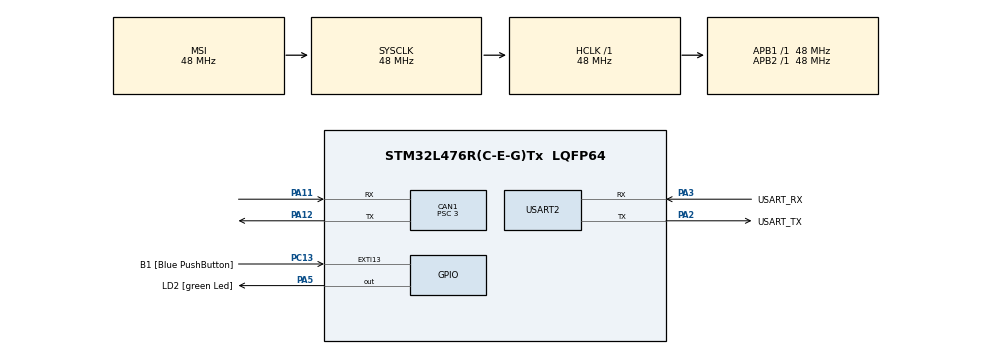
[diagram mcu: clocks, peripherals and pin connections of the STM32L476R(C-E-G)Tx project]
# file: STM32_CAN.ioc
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CAN1.BS1=CAN_BS1_13TQ
CAN1.BS2=CAN_BS2_2TQ
CAN1.CalculateBaudRate=1000000
CAN1.CalculateTimeBit=1000
CAN1.CalculateTimeQuantum=62.5
CAN1.Mode=CAN_MODE_LOOPBACK
CAN1.Prescaler=3
Mcu.Family=STM32L4
Mcu.Name=STM32L476R(C-E-G)Tx
Mcu.Package=LQFP64
NVIC.PriorityGroup=NVIC_PRIORITYGROUP_4
PA11.Mode=CAN_Activate
PA11.Signal=CAN1_RX
PA12.Mode=CAN_Activate
PA12.Signal=CAN1_TX
PA13\ (JTMS-SWDIO).GPIO_Label=TMS
PA13\ (JTMS-SWDIO).Mode=Serial_Wire
PA13\ (JTMS-SWDIO).Signal=SYS_JTMS-SWDIO
PA14\ (JTCK-SWCLK).GPIO_Label=TCK
PA14\ (JTCK-SWCLK).Mode=Serial_Wire
PA14\ (JTCK-SWCLK).Signal=SYS_JTCK-SWCLK
PA2.GPIO_Label=USART_TX
PA2.GPIO_Mode=GPIO_MODE_AF_PP
PA2.GPIO_PuPd=GPIO_NOPULL
PA2.GPIO_Speed=GPIO_SPEED_FREQ_VERY_HIGH
PA2.Mode=Asynchronous
PA2.Signal=USART2_TX
PA3.GPIO_Label=USART_RX
PA3.GPIO_Mode=GPIO_MODE_AF_PP
PA3.GPIO_PuPd=GPIO_NOPULL
PA3.GPIO_Speed=GPIO_SPEED_FREQ_VERY_HIGH
PA3.Mode=Asynchronous
PA3.Signal=USART2_RX
PA5.GPIO_Label=LD2 [green Led]
PA5.GPIO_ModeDefaultOutputPP=GPIO_MODE_OUTPUT_PP
PA5.GPIO_PuPd=GPIO_NOPULL
PA5.GPIO_Speed=GPIO_SPEED_FREQ_LOW
PA5.Signal=GPIO_Output
PB3\ (JTDO-TRACESWO).GPIO_Label=SWO
PB3\ (JTDO-TRACESWO).Signal=SYS_JTDO-SWO
PC13.GPIO_Label=B1 [Blue PushButton]
PC13.GPIO_ModeDefaultEXTI=GPIO_MODE_IT_FALLING
PC13.GPIO_PuPd=GPIO_NOPULL
PC13.Signal=GPXTI13
PC14-OSC32_IN\ (PC14).Mode=LSE-External-Oscillator
PC14-OSC32_IN\ (PC14).Signal=RCC_OSC32_IN
PC15-OSC32_OUT\ (PC15).Mode=LSE-External-Oscillator
PC15-OSC32_OUT\ (PC15).Signal=RCC_OSC32_OUT
PH0-OSC_IN\ (PH0).Signal=RCC_OSC_IN
PH1-OSC_OUT\ (PH1).Signal=RCC_OSC_OUT
ProjectManager.HeapSize=0x200
ProjectManager.StackSize=0x400
ProjectManager.TargetToolchain=STM32CubeIDE
RCC.ADCFreq_Value=64000000
RCC.AHBFreq_Value=48000000
RCC.APB1Freq_Value=48000000
RCC.APB1TimFreq_Value=48000000
RCC.APB2Freq_Value=48000000
RCC.APB2TimFreq_Value=48000000
RCC.CortexFreq_Value=48000000
RCC.HCLKFreq_Value=48000000
RCC.HSE_VALUE=8000000
RCC.HSI_VALUE=16000000
RCC.MSIClockRange=RCC_MSIRANGE_11
RCC.MSI_VALUE=48000000
RCC.PLLN=10
RCC.PLLSourceVirtual=RCC_PLLSOURCE_HSI
RCC.PREFETCH_ENABLE=1
RCC.SYSCLKFreq_VALUE=48000000
RCC.USBFreq_Value=64000000
RCC.VCOOutputFreq_Value=160000000
USART2.VirtualMode-Asynchronous=VM_ASYNC
board=NUCLEO-L476RG

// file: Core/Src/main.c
/* USER CODE BEGIN Header */
/**
  ******************************************************************************
  * @file           : main.c
  * @brief          : Main program body
  ******************************************************************************
  * @attention
  *
  * Copyright (c) 2026 STMicroelectronics.
  * All rights reserved.
  *
  * This software is licensed under terms that can be found in the LICENSE file
  * in the root directory of this software component.
  * If no LICENSE file comes with this software, it is provided AS-IS.
  *
  ******************************************************************************
  */
/* USER CODE END Header */
#include "main.h"

/* USER CODE BEGIN Includes */
#include <stdio.h>
#include <string.h>
/* USER CODE END Includes */

CAN_HandleTypeDef hcan1;

UART_HandleTypeDef huart2;

void SystemClock_Config(void);
static void MX_GPIO_Init(void);
static void MX_CAN1_Init(void);
static void MX_USART2_UART_Init(void);

/* USER CODE BEGIN 0 */
CAN_TxHeaderTypeDef TxHeader;
CAN_RxHeaderTypeDef RxHeader;
CAN_FilterTypeDef FilterConfig;
uint8_t TxData[8];
uint8_t RxData[8];
uint32_t TxMailbox;

int _write(int file, char *ptr, int len)
{
  HAL_UART_Transmit(&huart2, (uint8_t *)ptr, len, HAL_MAX_DELAY);
  return len;
}
/* USER CODE END 0 */

int main(void)
{

  /* MCU Configuration--------------------------------------------------------*/

  /* Reset of all peripherals, Initializes the Flash interface and the Systick. */
  HAL_Init();

  /* Configure the system clock */
  SystemClock_Config();

  /* Initialize all configured peripherals */
  MX_GPIO_Init();
  MX_CAN1_Init();
  MX_USART2_UART_Init();
  /* USER CODE BEGIN 2 */

  printf("\r\n=== CAN Normal Mode Test ===\r\n");

  // Accept-all filter
  FilterConfig.FilterBank = 0;
  FilterConfig.FilterMode = CAN_FILTERMODE_IDMASK;
  FilterConfig.FilterScale = CAN_FILTERSCALE_32BIT;
  FilterConfig.FilterIdHigh = 0x0000;
  FilterConfig.FilterIdLow = 0x0000;
  FilterConfig.FilterMaskIdHigh = 0x0000;
  FilterConfig.FilterMaskIdLow = 0x0000;
  FilterConfig.FilterFIFOAssignment = CAN_FILTER_FIFO0;
  FilterConfig.FilterActivation = ENABLE;
  HAL_CAN_ConfigFilter(&hcan1, &FilterConfig);

  if (HAL_CAN_Start(&hcan1) != HAL_OK)
  {
    printf("CAN Start FAILED\r\n");
    Error_Handler();
  }
  printf("CAN Started OK\r\n");

  // Print CAN error state before first TX
  printf("CAN ESR: 0x%08lX\r\n", hcan1.Instance->ESR);

  // TX header
  TxHeader.StdId = 0x123;
  TxHeader.ExtId = 0;
  TxHeader.RTR = CAN_RTR_DATA;
  TxHeader.IDE = CAN_ID_STD;
  TxHeader.DLC = 8;
  TxHeader.TransmitGlobalTime = DISABLE;

  // Payload
  TxData[0] = 0x09;
  TxData[1] = 0x10;
  TxData[2] = 0x2A;
  TxData[3] = 0x3B;
  TxData[4] = 0x4C;
  TxData[5] = 0x5D;
  TxData[6] = 0x6E;
  TxData[7] = 0x7F;

  /* USER CODE END 2 */

  /* Infinite loop */
  while (1)
  {

    /* USER CODE BEGIN 3 */
    TxData[0]++;

    HAL_StatusTypeDef status;

    if (HAL_CAN_GetTxMailboxesFreeLevel(&hcan1) > 0)
    {
      status = HAL_CAN_AddTxMessage(&hcan1, &TxHeader, TxData, &TxMailbox);
      printf("AddTxMessage status: %d  Mailbox: %lu\r\n", status, TxMailbox);

      // Wait a bit then check if it actually went out
      HAL_Delay(10);

      if (HAL_CAN_IsTxMessagePending(&hcan1, TxMailbox))
      {
        printf("TX STILL PENDING - no ACK on bus!\r\n");
      }
      else
      {
        printf("TX complete - Data[0]=0x%02X\r\n", TxData[0]);
        HAL_GPIO_TogglePin(LD2_GPIO_Port, LD2_Pin);
      }
    }
    else
    {
      printf("No free mailbox!\r\n");
    }

    // Print error register every loop
    uint32_t esr = hcan1.Instance->ESR;
    printf("ESR: 0x%08lX  TEC=%lu REC=%lu\r\n",
           esr,
           (esr >> 16) & 0xFF,   // TX error counter
           (esr >> 24) & 0xFF);  // RX error counter

    HAL_Delay(1000);
  }
  /* USER CODE END 3 */
}

void SystemClock_Config(void)
{
  RCC_OscInitTypeDef RCC_OscInitStruct = {0};
  RCC_ClkInitTypeDef RCC_ClkInitStruct = {0};

  /** Configure the main internal regulator output voltage
  */
  if (HAL_PWREx_ControlVoltageScaling(PWR_REGULATOR_VOLTAGE_SCALE1) != HAL_OK)
  {
    Error_Handler();
  }

  /** Configure LSE Drive Capability
  */
  HAL_PWR_EnableBkUpAccess();
  __HAL_RCC_LSEDRIVE_CONFIG(RCC_LSEDRIVE_LOW);

  /** Initializes the RCC Oscillators according to the specified parameters
  * in the RCC_OscInitTypeDef structure.
  */
  RCC_OscInitStruct.OscillatorType = RCC_OSCILLATORTYPE_LSE|RCC_OSCILLATORTYPE_MSI;
  RCC_OscInitStruct.LSEState = RCC_LSE_ON;
  RCC_OscInitStruct.MSIState = RCC_MSI_ON;
  RCC_OscInitStruct.MSICalibrationValue = 0;
  RCC_OscInitStruct.MSIClockRange = RCC_MSIRANGE_11;
  RCC_OscInitStruct.PLL.PLLState = RCC_PLL_NONE;
  if (HAL_RCC_OscConfig(&RCC_OscInitStruct) != HAL_OK)
  {
    Error_Handler();
  }

  /** Initializes the CPU, AHB and APB buses clocks
  */
  RCC_ClkInitStruct.ClockType = RCC_CLOCKTYPE_HCLK|RCC_CLOCKTYPE_SYSCLK
                              |RCC_CLOCKTYPE_PCLK1|RCC_CLOCKTYPE_PCLK2;
  RCC_ClkInitStruct.SYSCLKSource = RCC_SYSCLKSOURCE_MSI;
  RCC_ClkInitStruct.AHBCLKDivider = RCC_SYSCLK_DIV1;
  RCC_ClkInitStruct.APB1CLKDivider = RCC_HCLK_DIV1;
  RCC_ClkInitStruct.APB2CLKDivider = RCC_HCLK_DIV1;

  if (HAL_RCC_ClockConfig(&RCC_ClkInitStruct, FLASH_LATENCY_2) != HAL_OK)
  {
    Error_Handler();
  }

  /** Enable MSI Auto calibration
  */
  HAL_RCCEx_EnableMSIPLLMode();
}

static void MX_CAN1_Init(void)
{

  hcan1.Instance = CAN1;
  hcan1.Init.Prescaler = 3;
  hcan1.Init.Mode = CAN_MODE_NORMAL;
  hcan1.Init.SyncJumpWidth = CAN_SJW_1TQ;
  hcan1.Init.TimeSeg1 = CAN_BS1_13TQ;
  hcan1.Init.TimeSeg2 = CAN_BS2_2TQ;
  hcan1.Init.TimeTriggeredMode = DISABLE;
  hcan1.Init.AutoBusOff = DISABLE;
  hcan1.Init.AutoWakeUp = DISABLE;
  hcan1.Init.AutoRetransmission = DISABLE;
  hcan1.Init.ReceiveFifoLocked = DISABLE;
  hcan1.Init.TransmitFifoPriority = DISABLE;
  if (HAL_CAN_Init(&hcan1) != HAL_OK)
  {
    Error_Handler();
  }

}

static void MX_USART2_UART_Init(void)
{

  huart2.Instance = USART2;
  huart2.Init.BaudRate = 115200;
  huart2.Init.WordLength = UART_WORDLENGTH_8B;
  huart2.Init.StopBits = UART_STOPBITS_1;
  huart2.Init.Parity = UART_PARITY_NONE;
  huart2.Init.Mode = UART_MODE_TX_RX;
  huart2.Init.HwFlowCtl = UART_HWCONTROL_NONE;
  huart2.Init.OverSampling = UART_OVERSAMPLING_16;
  huart2.Init.OneBitSampling = UART_ONE_BIT_SAMPLE_DISABLE;
  huart2.AdvancedInit.AdvFeatureInit = UART_ADVFEATURE_NO_INIT;
  if (HAL_UART_Init(&huart2) != HAL_OK)
  {
    Error_Handler();
  }

}

static void MX_GPIO_Init(void)
{
  GPIO_InitTypeDef GPIO_InitStruct = {0};

  /* GPIO Ports Clock Enable */
  __HAL_RCC_GPIOC_CLK_ENABLE();
  __HAL_RCC_GPIOH_CLK_ENABLE();
  __HAL_RCC_GPIOA_CLK_ENABLE();
  __HAL_RCC_GPIOB_CLK_ENABLE();

  /*Configure GPIO pin Output Level */
  HAL_GPIO_WritePin(LD2_GPIO_Port, LD2_Pin, GPIO_PIN_RESET);

  /*Configure GPIO pin : B1_Pin */
  GPIO_InitStruct.Pin = B1_Pin;
  GPIO_InitStruct.Mode = GPIO_MODE_IT_FALLING;
  GPIO_InitStruct.Pull = GPIO_NOPULL;
  HAL_GPIO_Init(B1_GPIO_Port, &GPIO_InitStruct);

  /*Configure GPIO pin : LD2_Pin */
  GPIO_InitStruct.Pin = LD2_Pin;
  GPIO_InitStruct.Mode = GPIO_MODE_OUTPUT_PP;
  GPIO_InitStruct.Pull = GPIO_NOPULL;
  GPIO_InitStruct.Speed = GPIO_SPEED_FREQ_LOW;
  HAL_GPIO_Init(LD2_GPIO_Port, &GPIO_InitStruct);

}

void Error_Handler(void)
{
  __disable_irq();
  while (1)
  {
  }
}
